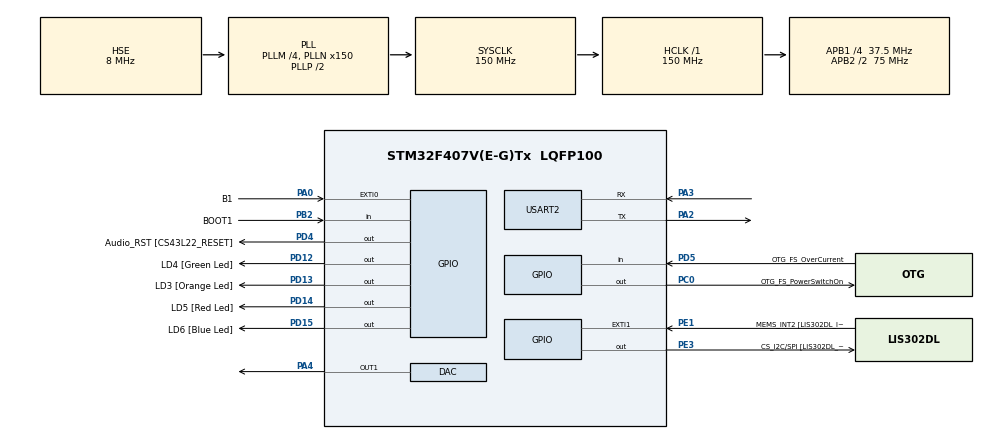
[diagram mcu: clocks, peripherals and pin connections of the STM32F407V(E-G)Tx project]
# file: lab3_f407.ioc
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Mcu.Family=STM32F4
Mcu.Name=STM32F407V(E-G)Tx
Mcu.Package=LQFP100
NVIC.EXTI0_IRQn=true\:1\:0\:true\:false\:true\:true\:true\:true
NVIC.PriorityGroup=NVIC_PRIORITYGROUP_2
NVIC.TIM8_TRG_COM_TIM14_IRQn=true\:0\:0\:false\:false\:true\:true\:true\:true
NVIC.USART2_IRQn=true\:0\:0\:false\:false\:true\:true\:true\:true
PA0-WKUP.GPIO_Label=B1 
PA0-WKUP.GPIO_ModeDefaultEXTI=GPIO_MODE_IT_FALLING
PA0-WKUP.GPIO_PuPd=GPIO_NOPULL
PA0-WKUP.Signal=GPXTI0
PA10.GPIO_Label=OTG_FS_ID
PA10.GPIO_Mode=GPIO_MODE_AF_PP
PA10.GPIO_PuPd=GPIO_NOPULL
PA10.GPIO_Speed=GPIO_SPEED_FREQ_LOW
PA10.Signal=USB_OTG_FS_ID
PA11.GPIO_Label=OTG_FS_DM
PA11.GPIO_Mode=GPIO_MODE_AF_PP
PA11.GPIO_PuPd=GPIO_NOPULL
PA11.GPIO_Speed=GPIO_SPEED_FREQ_LOW
PA11.Signal=USB_OTG_FS_DM
PA12.GPIO_Label=OTG_FS_DP
PA12.GPIO_Mode=GPIO_MODE_AF_PP
PA12.GPIO_PuPd=GPIO_NOPULL
PA12.GPIO_Speed=GPIO_SPEED_FREQ_LOW
PA12.Signal=USB_OTG_FS_DP
PA13.GPIO_Label=SWDIO
PA13.Mode=Serial_Wire
PA13.Signal=SYS_JTMS-SWDIO
PA14.GPIO_Label=SWCLK
PA14.Mode=Serial_Wire
PA14.Signal=SYS_JTCK-SWCLK
PA2.Mode=Asynchronous
PA2.Signal=USART2_TX
PA3.Mode=Asynchronous
PA3.Signal=USART2_RX
PA4.Signal=COMP_DAC1_group
PA9.GPIO_Label=VBUS_FS
PA9.GPIO_Mode=GPIO_MODE_INPUT
PA9.GPIO_PuPd=GPIO_NOPULL
PA9.Signal=USB_OTG_FS_VBUS
PB10.GPIO_Label=CLK_IN [MP45DT02_CLK]
PB10.GPIO_Mode=GPIO_MODE_AF_PP
PB10.GPIO_PuPd=GPIO_NOPULL
PB10.GPIO_Speed=GPIO_SPEED_FREQ_LOW
PB10.Signal=I2S2_CK
PB2.GPIO_Label=BOOT1
PB2.GPIO_Mode=GPIO_MODE_INPUT
PB2.GPIO_PuPd=GPIO_NOPULL
PB2.Signal=GPIO_Input
PB3.GPIO_Label=SWO
PB3.Signal=SYS_JTDO-SWO
PB6.GPIO_Label=Audio_SCL [CS43L22_SCL]
PB6.GPIO_Mode=GPIO_MODE_AF_OD
PB6.GPIO_Pu=GPIO_PULLUP
PB6.GPIO_PuPd=GPIO_NOPULL
PB6.GPIO_Speed=GPIO_SPEED_FREQ_LOW
PB6.Signal=I2C1_SCL
PB9.GPIO_Label=Audio_SDA [CS43L22_SDA]
PB9.GPIO_Mode=GPIO_MODE_AF_OD
PB9.GPIO_Pu=GPIO_PULLUP
PB9.GPIO_PuPd=GPIO_NOPULL
PB9.GPIO_Speed=GPIO_SPEED_FREQ_LOW
PB9.Signal=I2C1_SDA
PC0.GPIO_Label=OTG_FS_PowerSwitchOn
PC0.GPIO_PuPd=GPIO_NOPULL
PC0.GPIO_Speed=GPIO_SPEED_FREQ_LOW
PC0.PinState=GPIO_PIN_SET
PC0.Signal=GPIO_Output
PC10.GPIO_Label=I2S3_SCK [CS43L22_SCLK]
PC10.GPIO_Mode=GPIO_MODE_AF_PP
PC10.GPIO_PuPd=GPIO_NOPULL
PC10.GPIO_Speed=GPIO_SPEED_FREQ_LOW
PC10.Signal=I2S3_CK
PC12.GPIO_Label=I2S3_SD [CS43L22_SDIN]
PC12.GPIO_Mode=GPIO_MODE_AF_PP
PC12.GPIO_PuPd=GPIO_NOPULL
PC12.GPIO_Speed=GPIO_SPEED_FREQ_LOW
PC12.Signal=I2S3_SD
PC14-OSC32_IN.GPIO_Label=PC14-OSC32_IN
PC14-OSC32_IN.Mode=LSE-External-Oscillator
PC14-OSC32_IN.Signal=RCC_OSC32_IN
PC15-OSC32_OUT.GPIO_Label=PC15-OSC32_OUT
PC15-OSC32_OUT.Mode=LSE-External-Oscillator
PC15-OSC32_OUT.Signal=RCC_OSC32_OUT
PC3.GPIO_Label=PDM_OUT [MP45DT02_DOUT]
PC3.GPIO_Mode=GPIO_MODE_AF_PP
PC3.GPIO_PuPd=GPIO_NOPULL
PC3.GPIO_Speed=GPIO_SPEED_FREQ_LOW
PC3.Signal=I2S2_SD
PC7.GPIO_Label=I2S3_MCK [CS43L22_MCLK]
PC7.GPIO_Mode=GPIO_MODE_AF_PP
PC7.GPIO_PuPd=GPIO_NOPULL
PC7.GPIO_Speed=GPIO_SPEED_FREQ_LOW
PC7.Signal=I2S3_MCK
PD12.GPIO_Label=LD4 [Green Led]
PD12.GPIO_PuPd=GPIO_NOPULL
PD12.GPIO_Speed=GPIO_SPEED_FREQ_LOW
PD12.Signal=GPIO_Output
PD13.GPIO_Label=LD3 [Orange Led]
PD13.GPIO_PuPd=GPIO_NOPULL
PD13.GPIO_Speed=GPIO_SPEED_FREQ_LOW
PD13.Signal=GPIO_Output
PD14.GPIO_Label=LD5 [Red Led]
PD14.GPIO_PuPd=GPIO_NOPULL
PD14.GPIO_Speed=GPIO_SPEED_FREQ_LOW
PD14.Signal=GPIO_Output
PD15.GPIO_Label=LD6 [Blue Led]
PD15.GPIO_PuPd=GPIO_NOPULL
PD15.GPIO_Speed=GPIO_SPEED_FREQ_LOW
PD15.Signal=GPIO_Output
PD4.GPIO_Label=Audio_RST [CS43L22_RESET]
PD4.GPIO_PuPd=GPIO_NOPULL
PD4.GPIO_Speed=GPIO_SPEED_FREQ_LOW
PD4.Signal=GPIO_Output
PD5.GPIO_Label=OTG_FS_OverCurrent
PD5.GPIO_Mode=GPIO_MODE_INPUT
PD5.GPIO_PuPd=GPIO_NOPULL
PD5.Signal=GPIO_Input
PE1.GPIO_Label=MEMS_INT2 [LIS302DL_INT2]
PE1.GPIO_ModeDefaultEXTI=GPIO_MODE_EVT_RISING
PE1.GPIO_PuPd=GPIO_NOPULL
PE1.Signal=GPXTI1
PE3.GPIO_Label=CS_I2C/SPI [LIS302DL_CS_I2C/SPI]
PE3.GPIO_PuPd=GPIO_NOPULL
PE3.GPIO_Speed=GPIO_SPEED_FREQ_LOW
PE3.Signal=GPIO_Output
PH0-OSC_IN.GPIO_Label=PH0-OSC_IN
PH0-OSC_IN.Mode=HSE-External-Oscillator
PH0-OSC_IN.Signal=RCC_OSC_IN
PH1-OSC_OUT.GPIO_Label=PH1-OSC_OUT
PH1-OSC_OUT.Mode=HSE-External-Oscillator
PH1-OSC_OUT.Signal=RCC_OSC_OUT
ProjectManager.HeapSize=0x200
ProjectManager.StackSize=0x400
ProjectManager.TargetToolchain=STM32CubeIDE
RCC.48MHZClocksFreq_Value=42857142.85714286
RCC.AHBFreq_Value=150000000
RCC.APB1CLKDivider=RCC_HCLK_DIV4
RCC.APB1Freq_Value=37500000
RCC.APB1TimFreq_Value=75000000
RCC.APB2CLKDivider=RCC_HCLK_DIV2
RCC.APB2Freq_Value=75000000
RCC.APB2TimFreq_Value=150000000
RCC.CortexFreq_Value=150000000
RCC.HCLKFreq_Value=150000000
RCC.HSE_VALUE=8000000
RCC.HSI_VALUE=16000000
RCC.PLLM=4
RCC.PLLN=150
RCC.PLLQ=7
RCC.PLLSourceVirtual=RCC_PLLSOURCE_HSE
RCC.SYSCLKFreq_VALUE=150000000
RCC.SYSCLKSource=RCC_SYSCLKSOURCE_PLLCLK
RCC.VCOOutputFreq_Value=300000000
SH.COMP_DAC1_group.0=DAC_OUT1,DAC_OUT1
TIM14.Period=10000 - 1
TIM14.Prescaler=75 - 1
USART2.VirtualMode=VM_ASYNC
VP_TIM14_VS_ClockSourceINT.Mode=Enable_Timer
board=STM32F407G-DISC1

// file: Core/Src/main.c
/* USER CODE BEGIN Header */
/**
  ******************************************************************************
  * @file           : main.c
  * @brief          : Main program body
  ******************************************************************************
  * @attention
  *
  * Copyright (c) 2024 STMicroelectronics.
  * All rights reserved.
  *
  * This software is licensed under terms that can be found in the LICENSE file
  * in the root directory of this software component.
  * If no LICENSE file comes with this software, it is provided AS-IS.
  *
  ******************************************************************************
  */
/* USER CODE END Header */
#include "main.h"
#include "dac.h"
#include "tim.h"
#include "usart.h"
#include "gpio.h"

/* USER CODE BEGIN Includes */
#include <stdio.h>
#include <math.h>
#include <string.h>
/* USER CODE END Includes */

/* USER CODE BEGIN PD */
#define SINE_N_SAMPLE 255
#define SINE_AMPLITUDE 1
#define SINE_OFFSET 1
#define TIMER_CLOCK 1000000
#define BUFF_SIZE 100
/* USER CODE END PD */

/* USER CODE BEGIN PV */
char uart_buf[50];
int uart_buf_len;

uint8_t tmp_rx_data;
uint32_t buffer_counter = 0;
uint8_t buffer[BUFF_SIZE] = {0};

uint16_t timer_val;
int counter = 0;
uint32_t y_sine_digital[SINE_N_SAMPLE];
/* USER CODE END PV */

void SystemClock_Config(void);
/* USER CODE BEGIN PFP */
int process_buffer();
/* USER CODE END PFP */

/* USER CODE BEGIN 0 */
void init_y_sine_digital(double V_max)
{
  if (V_max > 3.3) V_max = 3.3;
  if (V_max < 0) V_max = 0.0;

  uint16_t V_max_digital = (V_max/3.3)*0xFFF;

  double resolution = 2*M_PI/SINE_N_SAMPLE;
  for (size_t i = 0; i < SINE_N_SAMPLE; i++)
  {
      y_sine_digital[i] = (sin(i * resolution) + 1) * ((V_max_digital+1)/2);
  }
}

/* USER CODE END 0 */

int main(void)
{

  /* MCU Configuration--------------------------------------------------------*/

  /* Reset of all peripherals, Initializes the Flash interface and the Systick. */
  HAL_Init();

  /* Configure the system clock */
  SystemClock_Config();

  /* Initialize all configured peripherals */
  MX_GPIO_Init();
  MX_DAC_Init();
  MX_TIM14_Init();
  MX_USART2_UART_Init();
  /* USER CODE BEGIN 2 */

  // Say something
  uart_buf_len = sprintf(uart_buf, "Timer test\r\n");
  HAL_UART_Transmit(&huart2, (uint8_t *)uart_buf, uart_buf_len, 100);

  // Init y sine value;
  init_y_sine_digital(3.3);

  // Start timer
  HAL_TIM_Base_Start_IT(&htim14);

  // Start DAC
  HAL_DAC_Start(&hdac, DAC1_CHANNEL_1);

  // Start UART Reading
  HAL_UART_Receive_IT(&huart2, &tmp_rx_data, 1);

  /* USER CODE END 2 */

  /* Infinite loop */
  /* USER CODE BEGIN WHILE */
  while (1)
  {
//      // Get current timer (us)
//      timer_val = __HAL_TIM_GET_COUNTER(&htim14);
//
//      // Wait for 50ms
//      HAL_Delay(50);
//
//
//      // Get timer elapsed
//      timer_val = __HAL_TIM_GET_COUNTER(&htim14) - timer_val;
//
//      // Show elapsed time
//      uart_buf_len = sprintf(uart_buf, "%u us\r\n", timer_val);
//      HAL_UART_Transmit(&huart2, (uint8_t *)uart_buf, uart_buf_len, 100);
//
//      // Wait again so we don't flood the serial terminal
//      HAL_Delay(1000);

    /* USER CODE END WHILE */

  }
}

void SystemClock_Config(void)
{
  RCC_OscInitTypeDef RCC_OscInitStruct = {0};
  RCC_ClkInitTypeDef RCC_ClkInitStruct = {0};

  /** Configure the main internal regulator output voltage
  */
  __HAL_RCC_PWR_CLK_ENABLE();
  __HAL_PWR_VOLTAGESCALING_CONFIG(PWR_REGULATOR_VOLTAGE_SCALE1);

  /** Initializes the RCC Oscillators according to the specified parameters
  * in the RCC_OscInitTypeDef structure.
  */
  RCC_OscInitStruct.OscillatorType = RCC_OSCILLATORTYPE_HSE;
  RCC_OscInitStruct.HSEState = RCC_HSE_ON;
  RCC_OscInitStruct.PLL.PLLState = RCC_PLL_ON;
  RCC_OscInitStruct.PLL.PLLSource = RCC_PLLSOURCE_HSE;
  RCC_OscInitStruct.PLL.PLLM = 4;
  RCC_OscInitStruct.PLL.PLLN = 150;
  RCC_OscInitStruct.PLL.PLLP = RCC_PLLP_DIV2;
  RCC_OscInitStruct.PLL.PLLQ = 7;
  if (HAL_RCC_OscConfig(&RCC_OscInitStruct) != HAL_OK)
  {
    Error_Handler();
  }

  /** Initializes the CPU, AHB and APB buses clocks
  */
  RCC_ClkInitStruct.ClockType = RCC_CLOCKTYPE_HCLK|RCC_CLOCKTYPE_SYSCLK
                              |RCC_CLOCKTYPE_PCLK1|RCC_CLOCKTYPE_PCLK2;
  RCC_ClkInitStruct.SYSCLKSource = RCC_SYSCLKSOURCE_PLLCLK;
  RCC_ClkInitStruct.AHBCLKDivider = RCC_SYSCLK_DIV1;
  RCC_ClkInitStruct.APB1CLKDivider = RCC_HCLK_DIV4;
  RCC_ClkInitStruct.APB2CLKDivider = RCC_HCLK_DIV2;

  if (HAL_RCC_ClockConfig(&RCC_ClkInitStruct, FLASH_LATENCY_4) != HAL_OK)
  {
    Error_Handler();
  }
}

/* USER CODE BEGIN 4 */

// Callback: timer has reset
void HAL_TIM_PeriodElapsedCallback(TIM_HandleTypeDef *htim)
{
  // Check which version of ther timer triggered this callback
  if (htim == &htim14)
  {
      static size_t current_index = 0;

      // Set value to DAC
      HAL_DAC_SetValue(&hdac, DAC_CHANNEL_1, DAC_ALIGN_12B_R, y_sine_digital[current_index]);

      // Increase index
      current_index++;
      // Reset index if out of range
      if (current_index > SINE_N_SAMPLE)
      {
	current_index = 0;
      }
  }

//  // Check which version of ther timer triggered this callback
//  if (htim == &htim14)
//  {
//    // Toggle the pin
//    HAL_GPIO_TogglePin(LD3_GPIO_Port, LD3_Pin);
//
//    // Print to terminal
//    uart_buf_len = sprintf(uart_buf, "Timer called\r\n");
//    HAL_UART_Transmit(&huart2, (uint8_t *)uart_buf, uart_buf_len, 100);
//
//    // Change the Timer CNT
//    if (counter > 10)
//    {
//      __HAL_TIM_SET_AUTORELOAD(htim, 20000 - 1);
//
//      uart_buf_len = sprintf(uart_buf, "Timer  reload value changed\r\n");
//      HAL_UART_Transmit(&huart2, (uint8_t *)uart_buf, uart_buf_len, 100);
//    }
//
//    counter++;
//  }
}

// Callback: UART Read 1 byte new
void HAL_UART_RxCpltCallback(UART_HandleTypeDef *huart)
{
	if (huart->Instance == huart2.Instance)
	{
	    //	Read to Buffer
	  if (buffer_counter >= BUFF_SIZE -1) buffer_counter = 0; // Reset buffer counter if size of string too big
	  buffer[buffer_counter++] = tmp_rx_data;

	  // Check if charater is newline
	  if (tmp_rx_data == '\n')
	  {
	    process_buffer();
	    buffer_counter = 0;
	    memset(&buffer, 0, BUFF_SIZE);
	  }

//	  Read the next characters
	  HAL_UART_Receive_IT(&huart2, &tmp_rx_data, 1);

	}

}

// Callback: button has been pressed
void HAL_GPIO_EXTI_Callback(uint16_t GPIO_Pin)
{
  if (GPIO_Pin == B1_Pin)
  {
	  HAL_GPIO_TogglePin(LD4_GPIO_Port, LD4_Pin);
	  HAL_Delay(1000);
  }
}

// Utility function: Process buffer
int process_buffer()
{
  if (strstr((char*)&buffer, "PING") != NULL)
  {
    uart_buf_len = sprintf(uart_buf, "PING OK\r\n");
    HAL_UART_Transmit(&huart2, (uint8_t *)uart_buf, uart_buf_len, 100);
    return 1;
  }
  else // Commands with argument
  {
    char tmp_str[BUFF_SIZE] = {0};
    // Copy to tmp string
    strcpy(tmp_str, (char*)buffer);
    char *cmd = strtok(tmp_str, " ");
    char *arg = strtok(NULL, " ");

    if (strstr(cmd, "F") != NULL)
    {
      if (strlen(arg) >= 1)
      {
	uint16_t freq = atoi(arg);
	if (freq)
	{
	  // Print to terminal
	  uart_buf_len = sprintf(uart_buf, "Changing frequency to %d\r\n", freq);
	  HAL_UART_Transmit(&huart2, (uint8_t *)uart_buf, uart_buf_len, 100);

	  // Execute method
	  uint16_t reload_value = TIMER_CLOCK/(freq*SINE_N_SAMPLE);
	  __HAL_TIM_SET_AUTORELOAD(&htim14, reload_value - 1);
	  __HAL_TIM_SET_COUNTER(&htim14, 0);

	  return 1;
	}
      }
    }
    else if (strstr(cmd, "A") != NULL)
    {
      if (strlen(arg) >= 5)
      {
	float A = (arg[0] - '0') + 0.1*(arg[2] - '0');
	// Print to terminal
	uart_buf_len = sprintf(uart_buf, "Changing amplitude to %f \r\n", A);
	HAL_UART_Transmit(&huart2, (uint8_t *)uart_buf, uart_buf_len, 100);

	// Execute method
	init_y_sine_digital(A);

	return 1;
      }
    }
  }

  return 0;
}

/* USER CODE END 4 */

void Error_Handler(void)
{
  __disable_irq();
  while (1)
  {
  }
}
